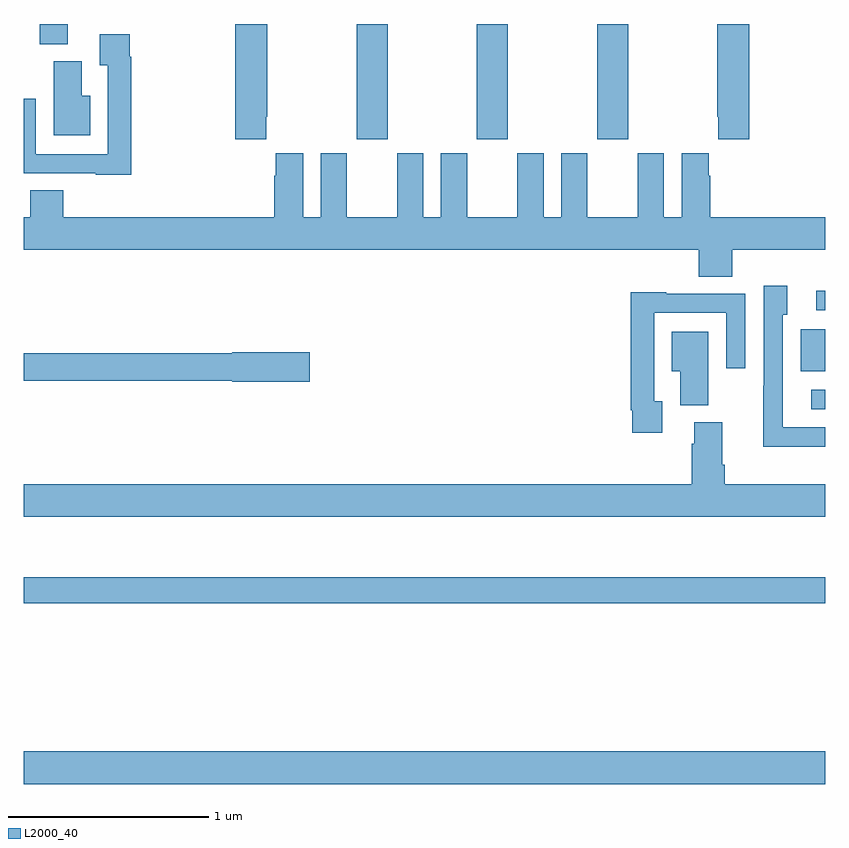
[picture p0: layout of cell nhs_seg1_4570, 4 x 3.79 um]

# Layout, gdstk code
import gdstk
lib = gdstk.Library(unit=1e-6, precision=1e-09)
def R(c, l, rs):  # rectangles x0, y0, x1, y1
    for r in rs: c.add(gdstk.rectangle(r[:2], r[2:], *l))
def A(c, l, x, y, w, h, nx, ny, dx, dy):  # array of equal rectangles
    R(c, l, [(x+i*dx, y+j*dy, x+i*dx+w, y+j*dy+h) for i in range(nx) for j in range(ny)])
def P(c, l, *ps):  # polygons
    for p in ps: c.add(gdstk.Polygon(p, *l))
L2000_40 = (2000, 40)

nhs_seg1_4570 = lib.new_cell('nhs_seg1_4570')
A(nhs_seg1_4570, L2000_40, 360.661, 545.625, 0.155, 0.574, 3, 1, 0.6, 0)
R(nhs_seg1_4570, L2000_40, [(359,542.408,363,542.572), (359,543.31,363,543.439), (362.928,544.278,363,544.374), (362.876,544.466,363,544.677), (362.955,544.77,363,544.868), (359.081,546.097,359.221,546.199)])
P(nhs_seg1_4570, L2000_40, [(360.211,545.737),(360.216,545.737),(360.216,546.199),(360.056,546.199),(360.056,545.625),(360.211,545.625)],
  [(362.621,546.199),(362.461,546.199),(362.461,545.737),(362.465,545.737),(362.465,545.625),(362.621,545.625)],
  [(359.537,546.035),(359.53,546.035),(359.53,546.148),(359.381,546.148),(359.381,545.992),(359.421,545.992),(359.421,545.55),(359.061,545.55),(359.061,545.827),(359,545.827),(359,545.454),(359.361,545.454),(359.361,545.447),(359.537,545.447)],
  [(359.332,545.842),(359.29,545.842),(359.29,546.012),(359.15,546.012),(359.15,545.645),(359.332,545.645)],
  [(361.682,545.554),(361.682,545.236),(361.594,545.236),(361.594,545.554),(361.463,545.554),(361.463,545.236),(361.213,545.236),(361.213,545.554),(361.082,545.554),(361.082,545.236),(360.994,545.236),(360.994,545.554),(360.863,545.554),(360.863,545.236),(360.613,545.236),(360.613,545.554),(360.482,545.554),(360.482,545.236),(360.394,545.236),(360.394,545.554),(360.257,545.554),(360.257,545.441),(360.251,545.441),(360.251,545.236),(359.198,545.236),(359.198,545.369),(359.033,545.369),(359.033,545.236),(359,545.236),(359,545.072),(362.369,545.072),(362.369,544.939),(362.534,544.939),(362.534,545.072),(363,545.072),(363,545.236),(362.426,545.236),(362.426,545.441),(362.419,545.441),(362.419,545.554),(362.282,545.554),(362.282,545.236),(362.194,545.236),(362.194,545.554),(362.063,545.554),(362.063,545.236),(361.813,545.236),(361.813,545.554)],
  [(363,544.188),(362.787,544.188),(362.787,544.749),(362.809,544.749),(362.809,544.894),(362.691,544.894),(362.691,544.394),(362.69,544.394),(362.69,544.091),(363,544.091)],
  [(362.185,544.317),(362.145,544.317),(362.145,544.758),(362.505,544.758),(362.505,544.482),(362.601,544.482),(362.601,544.854),(362.205,544.854),(362.205,544.861),(362.029,544.861),(362.029,544.273),(362.037,544.273),(362.037,544.161),(362.185,544.161)],
  [(362.416,544.663),(362.234,544.663),(362.234,544.466),(362.276,544.466),(362.276,544.297),(362.416,544.297)],
  [(360.427,544.562),(360.042,544.562),(360.042,544.556),(359,544.556),(359,544.42),(360.042,544.42),(360.042,544.415),(360.427,544.415)],
  [(363,543.904),(362.498,543.904),(362.498,544),(362.485,544),(362.485,544.212),(362.345,544.212),(362.345,544.106),(362.333,544.106),(362.333,543.904),(359,543.904),(359,543.74),(363,543.74)])

lib.write_gds('nhs_seg1_4570.gds')
